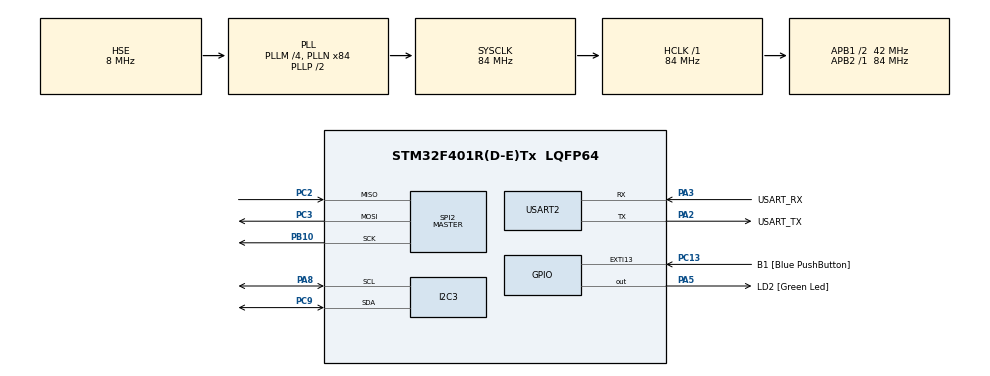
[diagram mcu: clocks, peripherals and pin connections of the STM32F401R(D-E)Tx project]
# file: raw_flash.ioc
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Mcu.Family=STM32F4
PC3.Mode=Full_Duplex_Master
RCC.PLLSourceVirtual=RCC_PLLSOURCE_HSE
PC15-OSC32_OUT.Mode=LSE-External-Oscillator
PA2.GPIO_PuPd=GPIO_NOPULL
RCC.CortexFreq_Value=84000000
PC13-ANTI_TAMP.GPIO_PuPd=GPIO_NOPULL
SPI2.VirtualType=VM_MASTER
PB10.Mode=Full_Duplex_Master
PC13-ANTI_TAMP.GPIO_Label=B1 [Blue PushButton]
PA14.GPIO_Label=TCK
PA3.GPIO_PuPd=GPIO_NOPULL
PH1\ -\ OSC_OUT.Mode=HSE-External-Clock-Source
PC2.Signal=SPI2_MISO
PA2.GPIO_Speed=GPIO_SPEED_FREQ_LOW
PC2.Mode=Full_Duplex_Master
RCC.APB1CLKDivider=RCC_HCLK_DIV2
PC14-OSC32_IN.Signal=RCC_OSC32_IN
PA3.GPIO_Speed=GPIO_SPEED_FREQ_LOW
RCC.SYSCLKSource=RCC_SYSCLKSOURCE_PLLCLK
ProjectManager.StackSize=0x400
PA3.Mode=Asynchronous
PA13.Signal=SYS_JTMS-SWDIO
PH0\ -\ OSC_IN.Mode=HSE-External-Clock-Source
PH0\ -\ OSC_IN.Signal=RCC_OSC_IN
ProjectManager.TargetToolchain=TrueSTUDIO
PA3.GPIO_Mode=GPIO_MODE_AF_PP
RCC.HCLKFreq_Value=84000000
RCC.APB2TimFreq_Value=84000000
PC3.Signal=SPI2_MOSI
PC15-OSC32_OUT.Signal=RCC_OSC32_OUT
RCC.AHBFreq_Value=84000000
PB10.Signal=SPI2_SCK
PA5.Signal=GPIO_Output
RCC.HSE_VALUE=8000000
PH1\ -\ OSC_OUT.Signal=RCC_OSC_OUT
board=NUCLEO-F401RE
PC13-ANTI_TAMP.Signal=GPXTI13
RCC.VCOOutputFreq_Value=168000000
NVIC.TIM3_IRQn=true\:0\:0\:false\:false\:true\:true\:true
RCC.APB2Freq_Value=84000000
PC14-OSC32_IN.Mode=LSE-External-Oscillator
VP_TIM2_VS_ClockSourceINT.Mode=Internal
PA14.Mode=Serial_Wire
PA5.GPIO_PuPd=GPIO_NOPULL
NVIC.TIM2_IRQn=true\:0\:0\:false\:false\:true\:true\:true
PC9.Mode=I2C
PA8.Signal=I2C3_SCL
PA13.Mode=Serial_Wire
Mcu.Name=STM32F401R(D-E)Tx
PA2.Signal=USART2_TX
PA13.GPIO_Label=TMS
RCC.48MHZClocksFreq_Value=24000000
PB3.Signal=SYS_JTDO-SWO
RCC.SYSCLKFreq_VALUE=84000000
Mcu.Package=LQFP64
SPI2.Mode=SPI_MODE_MASTER
PA5.GPIO_Label=LD2 [Green Led]
USART2.VirtualMode=VM_ASYNC
PC13-ANTI_TAMP.GPIO_ModeDefaultEXTI=GPIO_MODE_IT_FALLING
PA2.GPIO_Label=USART_TX
PA14.Signal=SYS_JTCK-SWCLK
ProjectManager.HeapSize=0x200
RCC.HSI_VALUE=16000000
PA5.GPIO_Speed=GPIO_SPEED_FREQ_LOW
RCC.PLLQ=7
NVIC.PriorityGroup=NVIC_PRIORITYGROUP_0
RCC.PLLM=4
RCC.PLLN=84
RCC.APB1TimFreq_Value=84000000
PA2.Mode=Asynchronous
PA8.Mode=I2C
SPI2.Direction=SPI_DIRECTION_2LINES
PC9.Signal=I2C3_SDA
RCC.APB1Freq_Value=42000000
PA5.GPIO_Mode=GPIO_MODE_OUTPUT_PP
VP_TIM3_VS_ClockSourceINT.Mode=Internal
PA3.GPIO_Label=USART_RX
PA3.Signal=USART2_RX
PA2.GPIO_Mode=GPIO_MODE_AF_PP
PB3.GPIO_Label=SWO

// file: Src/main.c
/* USER CODE BEGIN Header */
/**
  ******************************************************************************
  * @file           : main.c
  * @brief          : Main program body
  ******************************************************************************
  * @attention
  *
  * <h2><center>&copy; Copyright (c) 2020 STMicroelectronics.
  * All rights reserved.</center></h2>
  *
  * This software component is licensed by ST under BSD 3-Clause license,
  * the "License"; You may not use this file except in compliance with the
  * License. You may obtain a copy of the License at:
  *                        opensource.org/licenses/BSD-3-Clause
  *
  ******************************************************************************
  */
/* USER CODE END Header */

#include "main.h"
#include "stm32f4xx_hal.h"

/* USER CODE BEGIN Includes */
#include "stdio.h"
#include "stdbool.h"
#include "stdint.h"
#include "stdlib.h"
#include <string.h>
#define ROUND_DOWN(a,b) (((a) / (b)) * (b))
#define MIN(a,b)        (((a) < (b)) ? (a) : (b))
#define MAX(a,b)        (((a) > (b)) ? (a) : (b))
Moh_config_t __uninited_region_start__ __attribute__((section("UNINIT_FIXED_LOC")));
const  Moh_config_t	*MohconfigPtr = &__uninited_region_start__;
#define PEM_READ_BUFFER_SIZE  20  /**< Max size which can be got from the terminal in a single getInputString(). */
const uint32_t l_sector_map[] = {
  0x08000000, 0x08003FFF,  // 16 kbytes sectors
  0x08004000, 0x08007FFF, // 16 kbytes sectors
  0x08008000, 0x0800BFFF,    // 16 kbytes sectors                                 // 64 kbytes sector
  0x0800C000, 0x0800FFFF,// 16 kbytes sectors
  0x08010000, 0x0801FFFF, // 64 kbytes sectors...
  0x08020000, 0x0803FFFF,// 128 kbytes sectors...
  0x08040000, 0x0805FFFF,// 128 kbytes sectors...
  0x08060000 ,0x0807FFFF};// 128 kbytes sectors...
const Moh_config_t *Ptr;
/* USER CODE END Includes */

/* USER CODE BEGIN PTD */
int getInputString(char *inputString, size_t len)
;
int enterPemString(char * read_buffer, size_t max_len)
;
/* USER CODE END PTD */

I2C_HandleTypeDef hi2c3;

SPI_HandleTypeDef hspi2;

TIM_HandleTypeDef htim2;
TIM_HandleTypeDef htim3;

UART_HandleTypeDef huart2;

/* USER CODE BEGIN PV */
static int32_t GetSector(uint32_t address)
{
  int32_t sector = -1;

  if ( (l_sector_map[0] <= address) && (address < l_sector_map[sizeof(l_sector_map)/sizeof(uint32_t) - 1]) )
  { /* The address is within the range of the internal flash. */
    for (int i = 0; i < (sizeof(l_sector_map) / sizeof(uint32_t) - 1); i++)
    {
      if (address < l_sector_map[i+1])
      { /* Matching sector found. */
        sector = i;
        break;
      }
    }
  }

  return sector;
}
/**
  * @brief  Erase FLASH memory sector(s) at address.
  * @param  In: address     Start address to erase from.
  * @param  In: len_bytes   Length to be erased.
  * @retval  0:  Success.
            -1:  Failure.
  */
int FLASH_unlock_erase(uint32_t address, uint32_t len_bytes)
{
  int rc = -1;
  uint32_t SectorError = 0;
  FLASH_EraseInitTypeDef EraseInit;

  /* WARN: ABW. If the passed address and size are not aligned on the sectors geometry,
   * the start of the first sector and the end of the last sector are erased anyway.
   * After erase, the flash is left in unlocked state.
   */
  EraseInit.TypeErase     = FLASH_TYPEERASE_SECTORS;
  EraseInit.VoltageRange  = FLASH_VOLTAGE_RANGE_3;  // Does not support more than single-word programming. See §3.5.2 in RM0430.
  EraseInit.Sector        = GetSector(address);
  EraseInit.NbSectors     = GetSector(address + len_bytes - 1) - EraseInit.Sector + 1;

  if (HAL_FLASH_Unlock() == HAL_OK)
  {
    printf("Flash unlocked successfully!\n");
  }
  else
  {
    printf("Flash was already unlocked!\n");
  }

  if (HAL_FLASHEx_Erase(&EraseInit, &SectorError) == HAL_OK)
  {
    rc = 0;
  }
  else
  {
    printf("Error %lu erasing at 0x%08lx\n", SectorError, address);
  }

  return rc;
}

/**
  * @brief  Write to FLASH memory.
  * @param  In: address     Destination address.
  * @param  In: pData       Data to be programmed: Must be 8 byte aligned.
  * @param  In: len_bytes   Number of bytes to be programmed.
  * @retval  0: Success.
            -1: Failure.
  */
int FLASH_write_at(uint32_t address, uint32_t *pData, uint32_t len_bytes)
{
  int i;
  int ret = -1;

  __disable_irq();

  for (i = 0; i < len_bytes; i += 4)
  {
    if (HAL_FLASH_Program(FLASH_TYPEPROGRAM_WORD,
        address + i,
        *(pData + (i/4) )) != HAL_OK)
    {
      break;
    }
  }

  /* Memory check */
  for (i = 0; i < len_bytes; i += 4)
  {
    uint32_t *dst = (uint32_t *)(address + i);
    uint32_t *src = ((uint32_t *) pData) + (i/4);

    if ( *dst != *src )
    {
      printf("Write failed @0x%08lx, read value=0x%08lx, expected=0x%08lx\n", (uint32_t) dst, *dst, *src);
      break;
    }
    ret = 0;
  }
  __enable_irq();

  return ret;
}

int FLASH_update(uint32_t dst_addr, const void *data, uint32_t size)
{
  int rc = -1;
  int ret = 0;
  int sector_cache_size = 0;
  int remaining = size;
  uint8_t * src_addr = (uint8_t *) data;
  uint32_t * sector_cache = NULL;
  uint8_t * sector_cache_buffer = NULL;

  __HAL_FLASH_CLEAR_FLAG(FLASH_FLAG_EOP    | FLASH_FLAG_OPERR | FLASH_FLAG_WRPERR |\
                         FLASH_FLAG_PGAERR | FLASH_FLAG_PGPERR| FLASH_FLAG_PGSERR);
  /* Compute the size of the largest sector to be updated. */
  for (int i = GetSector(dst_addr); i < (GetSector(dst_addr + size - 1) + 1); i++)
  {
    sector_cache_size = MAX(sector_cache_size, l_sector_map[i+1] - l_sector_map[i]);
  }

  /* Allocate and align the sector cache on double-word boundaries, in order to allow double-word page programming. */
  sector_cache_buffer = malloc (sector_cache_size + sizeof(uint32_t));

  if (sector_cache_buffer != NULL)
  {
    sector_cache = (uint32_t *) ( (uint32_t)sector_cache_buffer & ~(sizeof(uint32_t) - 1) ) + 1;

    do {
      uint32_t sector = GetSector(dst_addr);
      uint32_t sector_size = l_sector_map[sector + 1] - l_sector_map[sector];
      uint32_t fl_addr = l_sector_map[sector];
      int fl_offset = dst_addr - fl_addr;
      int len = MIN(sector_size - fl_offset, remaining);

      /* Load from the flash into the cache */
      memcpy(sector_cache, (void *) fl_addr, sector_size);
      /* Update the cache from the source */
      memcpy((uint8_t *)sector_cache + fl_offset, src_addr, len);
      /* Erase the page, and write the cache */
      ret = FLASH_unlock_erase(fl_addr, sector_size);
      if (ret != 0)
      {
        printf("Error erasing at 0x%08lx\n", fl_addr);
      }
      else
      {
        ret = FLASH_write_at(fl_addr, sector_cache, sector_size);
        if((ret != 0) && (memcmp((void*)fl_addr, sector_cache, sector_size)))
        {
          printf("Error %d writing %lu bytes at 0x%08lx\n", ret, sector_size, fl_addr);
        }
        else
        {
          dst_addr += len;
          src_addr += len;
          remaining -= len;
        }
      }
    } while ((ret == 0) && (remaining > 0));
    if (ret == 0)
    {
      rc = 0;
    }

    free(sector_cache_buffer);
  }
  return rc;
}

/* USER CODE END PV */

void SystemClock_Config(void);
static void MX_GPIO_Init(void);
static void MX_USART2_UART_Init(void);
static void MX_I2C3_Init(void);
static void MX_SPI2_Init(void);
static void MX_TIM2_Init(void);
static void MX_TIM3_Init(void);
/* USER CODE BEGIN PFP */
int enterPemString(char * read_buffer, size_t max_len)
{
  int i = 0;
  int read_len = 0;
 // bool eof = false;
  read_len = getInputString(&read_buffer[i], max_len);

  while ( (read_len >= 0) && (i < max_len) )
  {
    i += read_len;
    read_buffer[i++] = '\n';
    read_len = getInputString(&read_buffer[i], max_len);

        i += read_len;
        read_buffer[i++] = '\n';
        read_len = getInputString(&read_buffer[i], max_len);
  }

  if (i >= max_len)
  {
   printf("Certificate is too long , allocated size is %d\n",max_len);
   printf("Certificate is too long , %s\n",read_buffer);

   return 0;
  }
  read_buffer[++i] = '\0';
  return i;
}

DataLogTypeDef my_data;
int getInputString(char *inputString, size_t len)
{
  size_t currLen = 0;
  int c = 0;

  c = getchar();

  while ((c != EOF) && ((currLen + 1) < len) && (c != '\r') && (c != '\n') )
  {
    if (c == '\b')
    {
      if (currLen != 0)
      {
        --currLen;
        inputString[currLen] = 0;
        printf(" \b");
      }
    }
    else
    {
      if (currLen < (len-1))
      {
        inputString[currLen] = c;
      }

      ++currLen;
    }
    c = getchar();
  }
  if (currLen != 0)
  { /* Close the string in the input buffer... only if a string was written to it. */
    inputString[currLen] = '\0';
  }
  if (c == '\r')
  {
    c = getchar(); /* assume there is '\n' after '\r'. Just discard it. */
  }

  return currLen;
}
/* USER CODE END PFP */

/* USER CODE BEGIN 0 */

#if (defined(__GNUC__) && !defined(__CC_ARM))
/* With GCC/RAISONANCE, small printf (option LD Linker->Libraries->Small printf
   set to 'Yes') calls __io_putchar() */
#define PUTCHAR_PROTOTYPE int __io_putchar(int ch)
#define GETCHAR_PROTOTYPE int __io_getchar(void)
#else
#define PUTCHAR_PROTOTYPE int fputc(int ch, FILE *f)
#define GETCHAR_PROTOTYPE int fgetc(FILE *f)
#endif /* __GNUC__ */

/**
  * @brief  Retargets the C library printf function to the USART.
  * @param  None
  * @retval None
  */
PUTCHAR_PROTOTYPE
{
  /* Place your implementation of fputc here */
  /* e.g. write a character to the USART2 and Loop until the end of transmission */
  while (HAL_OK != HAL_UART_Transmit(&huart2, (uint8_t *) &ch, 1, 30000))
  {
    ;
  }
  return ch;
}

/**
  * @brief  Retargets the C library scanf function to the USART.
  * @param  None
  * @retval None
  */
GETCHAR_PROTOTYPE
{
  /* Place your implementation of fgetc here */
  /* e.g. read a character on USART and loop until the end of read */
  uint8_t ch = 0;
  while (HAL_OK != HAL_UART_Receive(&huart2, (uint8_t *)&ch, 1, 30000))
  {
    ;
  }
  return ch;
}
/* USER CODE END PFP */

/* Private user code ---------------------------------------------------------*/
/* USER CODE BEGIN 0 */

/* USER CODE END 0 */

int main(void)
{

  /* MCU Configuration--------------------------------------------------------*/

  /* Reset of all peripherals, Initializes the Flash interface and the Systick. */

	HAL_Init();

  /* Configure the system clock */
  SystemClock_Config();

  /* Initialize all configured peripherals */
  MX_GPIO_Init();
  MX_USART2_UART_Init();
  MX_I2C3_Init();
  MX_SPI2_Init();
  MX_TIM2_Init();
  MX_TIM3_Init();
  /* USER CODE BEGIN 2 */
  printf("\n\r hello world \n\r");
  char name[10];
  char * key_read_buffer = NULL;
  const char *serverAddress = NULL;
  int    ret = 0;
  key_read_buffer = malloc(PEM_READ_BUFFER_SIZE);
  if (key_read_buffer == NULL)
  {
    printf("Could not allocate %d bytes for the console readbuffer.\n", PEM_READ_BUFFER_SIZE);
  //  return -1;
  }
  memset(key_read_buffer, 0, PEM_READ_BUFFER_SIZE);
  printf("\nEnter your certificate\n\r");
  enterPemString(key_read_buffer, PEM_READ_BUFFER_SIZE);
  int i;
  FLASH_update((uint32_t)MohconfigPtr->cert, key_read_buffer, strlen(key_read_buffer) + 1);  /* Append the closing \0*/
  ret =getServerAddress(&serverAddress);
  printf("\n\r serverAddress %s \n \r",serverAddress);
  printf("\nEnter after  %s\n\r",key_read_buffer);

  /* USER CODE END 2 */

  /* Infinite loop */
  /* USER CODE BEGIN WHILE */
  while (1)
  {
	  HAL_GPIO_TogglePin(LD2_GPIO_Port,LD2_Pin);
	  HAL_Delay(200);
    /* USER CODE END WHILE */

  }
}

void SystemClock_Config(void)
{
  RCC_OscInitTypeDef RCC_OscInitStruct = {0};
  RCC_ClkInitTypeDef RCC_ClkInitStruct = {0};

  /** Configure the main internal regulator output voltage
  */
  __HAL_RCC_PWR_CLK_ENABLE();
  __HAL_PWR_VOLTAGESCALING_CONFIG(PWR_REGULATOR_VOLTAGE_SCALE2);
  /** Initializes the CPU, AHB and APB busses clocks
  */
  RCC_OscInitStruct.OscillatorType = RCC_OSCILLATORTYPE_HSE;
  RCC_OscInitStruct.HSEState = RCC_HSE_BYPASS;
  RCC_OscInitStruct.PLL.PLLState = RCC_PLL_ON;
  RCC_OscInitStruct.PLL.PLLSource = RCC_PLLSOURCE_HSE;
  RCC_OscInitStruct.PLL.PLLM = 4;
  RCC_OscInitStruct.PLL.PLLN = 84;
  RCC_OscInitStruct.PLL.PLLP = RCC_PLLP_DIV2;
  RCC_OscInitStruct.PLL.PLLQ = 7;
  if (HAL_RCC_OscConfig(&RCC_OscInitStruct) != HAL_OK)
  {
    Error_Handler();
  }
  /** Initializes the CPU, AHB and APB busses clocks
  */
  RCC_ClkInitStruct.ClockType = RCC_CLOCKTYPE_HCLK|RCC_CLOCKTYPE_SYSCLK
                              |RCC_CLOCKTYPE_PCLK1|RCC_CLOCKTYPE_PCLK2;
  RCC_ClkInitStruct.SYSCLKSource = RCC_SYSCLKSOURCE_PLLCLK;
  RCC_ClkInitStruct.AHBCLKDivider = RCC_SYSCLK_DIV1;
  RCC_ClkInitStruct.APB1CLKDivider = RCC_HCLK_DIV2;
  RCC_ClkInitStruct.APB2CLKDivider = RCC_HCLK_DIV1;

  if (HAL_RCC_ClockConfig(&RCC_ClkInitStruct, FLASH_LATENCY_2) != HAL_OK)
  {
    Error_Handler();
  }
}

static void MX_I2C3_Init(void)
{

  hi2c3.Instance = I2C3;
  hi2c3.Init.ClockSpeed = 100000;
  hi2c3.Init.DutyCycle = I2C_DUTYCYCLE_2;
  hi2c3.Init.OwnAddress1 = 0;
  hi2c3.Init.AddressingMode = I2C_ADDRESSINGMODE_7BIT;
  hi2c3.Init.DualAddressMode = I2C_DUALADDRESS_DISABLE;
  hi2c3.Init.OwnAddress2 = 0;
  hi2c3.Init.GeneralCallMode = I2C_GENERALCALL_DISABLE;
  hi2c3.Init.NoStretchMode = I2C_NOSTRETCH_DISABLE;
  if (HAL_I2C_Init(&hi2c3) != HAL_OK)
  {
    Error_Handler();
  }

}

static void MX_SPI2_Init(void)
{

  /* SPI2 parameter configuration*/
  hspi2.Instance = SPI2;
  hspi2.Init.Mode = SPI_MODE_MASTER;
  hspi2.Init.Direction = SPI_DIRECTION_2LINES;
  hspi2.Init.DataSize = SPI_DATASIZE_8BIT;
  hspi2.Init.CLKPolarity = SPI_POLARITY_LOW;
  hspi2.Init.CLKPhase = SPI_PHASE_1EDGE;
  hspi2.Init.NSS = SPI_NSS_SOFT;
  hspi2.Init.BaudRatePrescaler = SPI_BAUDRATEPRESCALER_2;
  hspi2.Init.FirstBit = SPI_FIRSTBIT_MSB;
  hspi2.Init.TIMode = SPI_TIMODE_DISABLE;
  hspi2.Init.CRCCalculation = SPI_CRCCALCULATION_DISABLE;
  hspi2.Init.CRCPolynomial = 10;
  if (HAL_SPI_Init(&hspi2) != HAL_OK)
  {
    Error_Handler();
  }

}

static void MX_TIM2_Init(void)
{

  TIM_ClockConfigTypeDef sClockSourceConfig = {0};
  TIM_MasterConfigTypeDef sMasterConfig = {0};

  htim2.Instance = TIM2;
  htim2.Init.Prescaler = 0;
  htim2.Init.CounterMode = TIM_COUNTERMODE_UP;
  htim2.Init.Period = 0;
  htim2.Init.ClockDivision = TIM_CLOCKDIVISION_DIV1;
  htim2.Init.AutoReloadPreload = TIM_AUTORELOAD_PRELOAD_DISABLE;
  if (HAL_TIM_Base_Init(&htim2) != HAL_OK)
  {
    Error_Handler();
  }
  sClockSourceConfig.ClockSource = TIM_CLOCKSOURCE_INTERNAL;
  if (HAL_TIM_ConfigClockSource(&htim2, &sClockSourceConfig) != HAL_OK)
  {
    Error_Handler();
  }
  sMasterConfig.MasterOutputTrigger = TIM_TRGO_RESET;
  sMasterConfig.MasterSlaveMode = TIM_MASTERSLAVEMODE_DISABLE;
  if (HAL_TIMEx_MasterConfigSynchronization(&htim2, &sMasterConfig) != HAL_OK)
  {
    Error_Handler();
  }

}

static void MX_TIM3_Init(void)
{

  TIM_ClockConfigTypeDef sClockSourceConfig = {0};
  TIM_MasterConfigTypeDef sMasterConfig = {0};

  htim3.Instance = TIM3;
  htim3.Init.Prescaler = 0;
  htim3.Init.CounterMode = TIM_COUNTERMODE_UP;
  htim3.Init.Period = 0;
  htim3.Init.ClockDivision = TIM_CLOCKDIVISION_DIV1;
  htim3.Init.AutoReloadPreload = TIM_AUTORELOAD_PRELOAD_DISABLE;
  if (HAL_TIM_Base_Init(&htim3) != HAL_OK)
  {
    Error_Handler();
  }
  sClockSourceConfig.ClockSource = TIM_CLOCKSOURCE_INTERNAL;
  if (HAL_TIM_ConfigClockSource(&htim3, &sClockSourceConfig) != HAL_OK)
  {
    Error_Handler();
  }
  sMasterConfig.MasterOutputTrigger = TIM_TRGO_RESET;
  sMasterConfig.MasterSlaveMode = TIM_MASTERSLAVEMODE_DISABLE;
  if (HAL_TIMEx_MasterConfigSynchronization(&htim3, &sMasterConfig) != HAL_OK)
  {
    Error_Handler();
  }

}

static void MX_USART2_UART_Init(void)
{

  huart2.Instance = USART2;
  huart2.Init.BaudRate = 115200;
  huart2.Init.WordLength = UART_WORDLENGTH_8B;
  huart2.Init.StopBits = UART_STOPBITS_1;
  huart2.Init.Parity = UART_PARITY_NONE;
  huart2.Init.Mode = UART_MODE_TX_RX;
  huart2.Init.HwFlowCtl = UART_HWCONTROL_NONE;
  huart2.Init.OverSampling = UART_OVERSAMPLING_16;
  if (HAL_UART_Init(&huart2) != HAL_OK)
  {
    Error_Handler();
  }

}

static void MX_GPIO_Init(void)
{
  GPIO_InitTypeDef GPIO_InitStruct = {0};

  /* GPIO Ports Clock Enable */
  __HAL_RCC_GPIOC_CLK_ENABLE();
  __HAL_RCC_GPIOH_CLK_ENABLE();
  __HAL_RCC_GPIOA_CLK_ENABLE();
  __HAL_RCC_GPIOB_CLK_ENABLE();

  /*Configure GPIO pin Output Level */
  HAL_GPIO_WritePin(LD2_GPIO_Port, LD2_Pin, GPIO_PIN_RESET);

  /*Configure GPIO pin : B1_Pin */
  GPIO_InitStruct.Pin = B1_Pin;
  GPIO_InitStruct.Mode = GPIO_MODE_IT_FALLING;
  GPIO_InitStruct.Pull = GPIO_NOPULL;
  HAL_GPIO_Init(B1_GPIO_Port, &GPIO_InitStruct);

  /*Configure GPIO pin : LD2_Pin */
  GPIO_InitStruct.Pin = LD2_Pin;
  GPIO_InitStruct.Mode = GPIO_MODE_OUTPUT_PP;
  GPIO_InitStruct.Pull = GPIO_NOPULL;
  GPIO_InitStruct.Speed = GPIO_SPEED_FREQ_LOW;
  HAL_GPIO_Init(LD2_GPIO_Port, &GPIO_InitStruct);

}

/* USER CODE BEGIN 4 */
int getServerAddress(const char ** const address)
{
  int ret = -1;

  if (address != NULL)
  {

      *address =  MohconfigPtr->cert;
      ret = 0;

  }
  return ret;
}
/* USER CODE END 4 */

void Error_Handler(void)
{
}

/************************ (C) COPYRIGHT STMicroelectronics *****END OF FILE****/
